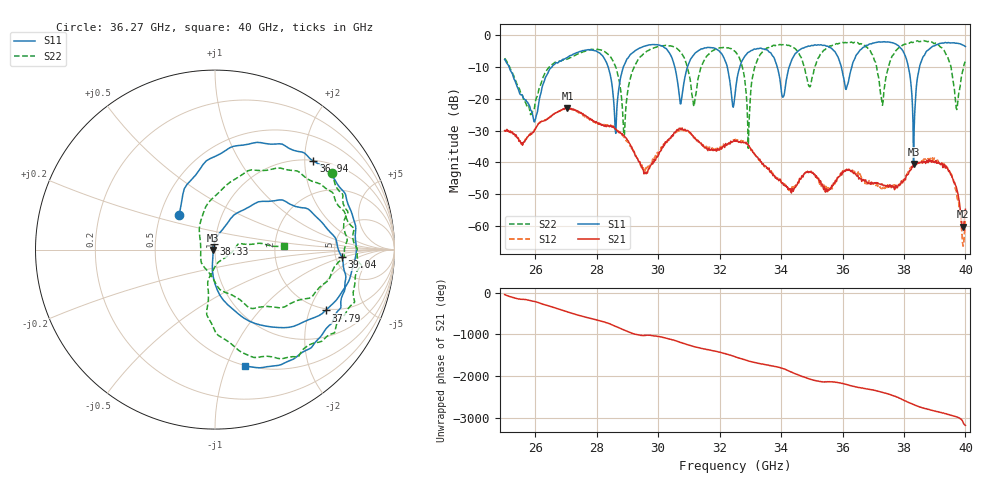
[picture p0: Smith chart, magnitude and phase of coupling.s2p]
!Keysight Technologies,N5225A,MY55451607,A.10.47.03
!Date: Friday, May 31, 2024 11:16:14
!Correction: S11(Full 2 Port(1,2))
!S21(Full 2 Port(1,2))
!S12(Full 2 Port(1,2))
!S22(Full 2 Port(1,2))
!S2P File: Measurements: S11, S21, S12, S22:
# Hz S  RI  R 50
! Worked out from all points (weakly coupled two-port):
!   801 points, 25 GHz to 40 GHz, reference 50 ohm
!   highest |S21| = -22.89 dB at 27.04 GHz (marker M1); lowest = -60.2 dB at 39.92 GHz (marker M2)
!   lowest |S11| = -40.4 dB at 38.31 GHz (marker M3), VSWR 1.02, Z = 49.1 - j0.185 ohm
!   |S11| at or under -10 dB: 25.15 GHz to 26.54 GHz (1.388 GHz wide, 5.37 % of centre); 28.37 GHz to 28.86 GHz (490.7 MHz wide, 1.71 % of centre); 30.54 GHz to 30.95 GHz (408.3 MHz wide, 1.33 % of centre) (the widest 3 of 7)
!   |S22| runs from -35.5 to -1.6 dB; largest |S21 - S12| = 0.0047
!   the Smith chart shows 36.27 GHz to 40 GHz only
!   S11 on the Smith chart (normalised r, x): 36.27 GHz: 0.63, +0.26; 36.94 GHz: 1.02, +2.20; 37.79 GHz: 1.93, -2.59; 38.33 GHz: 0.99, +0.06; 39.04 GHz: 5.69, -0.97; 40 GHz: 0.50, -1.16
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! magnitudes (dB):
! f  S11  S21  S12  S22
! 25 GHz  -7.6  -30.0  -30.1  -7.2
! 25.98 GHz  -27.2  -29.7  -29.7  -22.6
! 27.04 GHz  -7.0  -22.9  -22.9  -7.5
! 27.51 GHz  -4.9  -24.7  -24.8  -5.3
! 28.62 GHz  -30.8  -29.4  -29.2  -10.0
! 28.9 GHz  -9.2  -31.7  -32.3  -31.3
! 30.01 GHz  -3.1  -37.8  -36.7  -3.6
! 30.74 GHz  -21.5  -29.7  -29.9  -5.4
! 31.17 GHz  -6.0  -32.1  -32.3  -22.4
! 32.5 GHz  -18.6  -33.3  -32.8  -5.0
! 32.93 GHz  -5.3  -34.5  -34.4  -35.5
! 33.59 GHz  -4.9  -42.2  -41.9  -3.9
! 35.01 GHz  -3.2  -43.4  -43.3  -13.2
! 36.27 GHz  -11.1  -42.7  -42.4  -2.1
! 36.94 GHz  -2.7  -46.3  -46.2  -5.7
! 37.51 GHz  -2.1  -47.8  -47.6  -9.5
! 37.79 GHz  -3.1  -47.9  -47.6  -4.4
! 38.31 GHz  -40.4  -41.1  -41.0  -2.1
! 38.33 GHz  -29.7  -40.9  -40.9  -2.0
! 39.04 GHz  -3.0  -39.5  -38.9  -2.5
! 39.92 GHz  -3.1  -60.2  -66.3  -10.7
! 40 GHz  -3.5  -54.8  -57.5  -8.3
